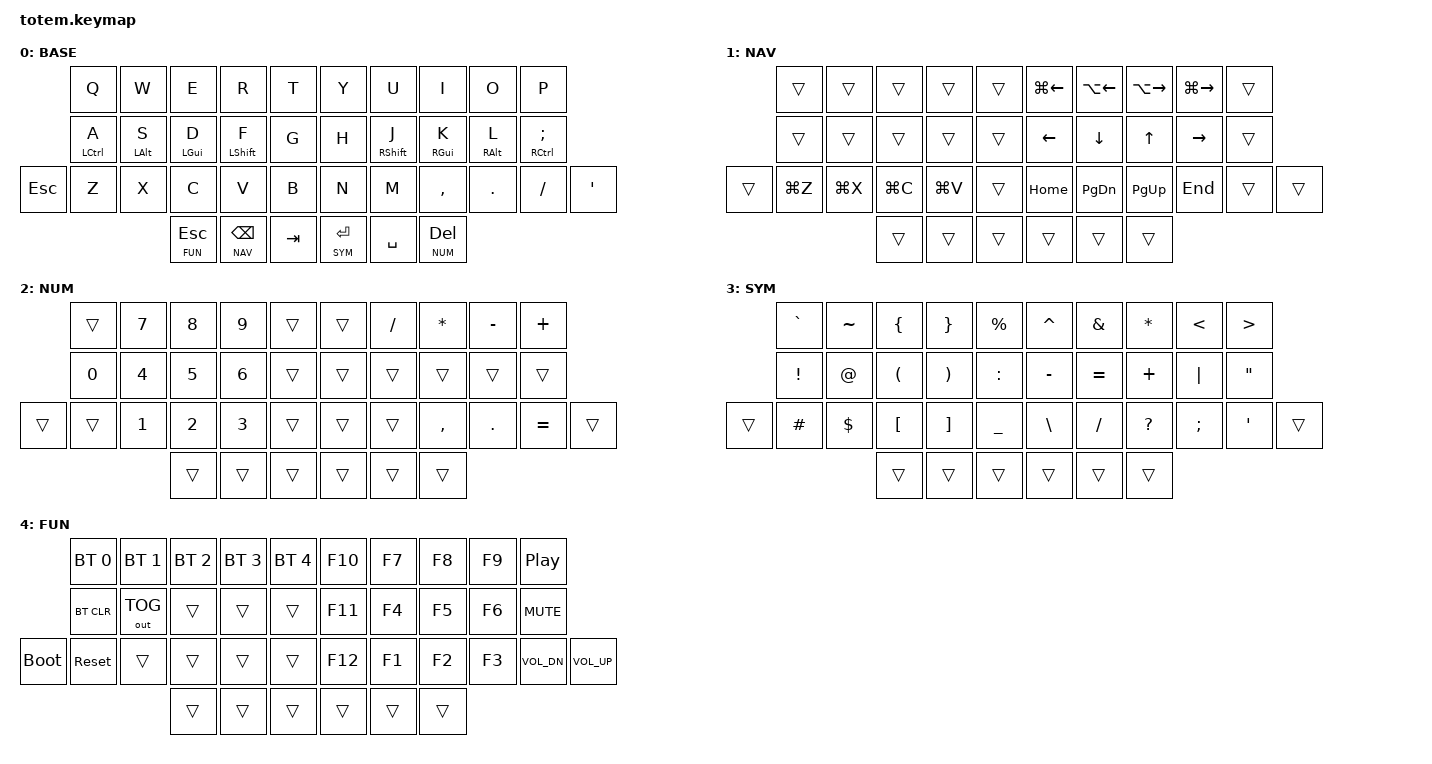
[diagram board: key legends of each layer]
#include <behaviors.dtsi>
#include <dt-bindings/zmk/keys.h>
#include <dt-bindings/zmk/bt.h>
#include <dt-bindings/zmk/outputs.h>

#define BASE 0
#define NAV  1
#define NUM  2
#define SYM  3
#define FUN  4

// Key positions (TOTEM, 38 keys)
//            0  1  2  3  4      5  6  7  8  9
//           10 11 12 13 14     15 16 17 18 19
//        20 21 22 23 24 25     26 27 28 29 30 31
//                 32 33 34     35 36 37
#define KEYS_L 0 1 2 3 4 10 11 12 13 14 20 21 22 23 24 25
#define KEYS_R 5 6 7 8 9 15 16 17 18 19 26 27 28 29 30 31
#define THUMBS 32 33 34 35 36 37

// Layer-taps: balanced so a held thumb + opposite-hand tap fires the layer
// immediately; quick-tap lets double-tap-hold auto-repeat BSPC/DEL.
&lt {
    flavor = "balanced";
    tapping-term-ms = <200>;
    quick-tap-ms = <175>;
};

/ {
  behaviors {
    // Home-row mods, bilateral: the hold only triggers when the next key is
    // on the opposite hand or a thumb, so same-hand rolls always produce taps.
    hml: home_row_mod_left {
        compatible = "zmk,behavior-hold-tap";
        #binding-cells = <2>;
        flavor = "balanced";
        tapping-term-ms = <260>;
        quick-tap-ms = <175>;
        require-prior-idle-ms = <150>;
        hold-trigger-key-positions = <KEYS_R THUMBS>;
        hold-trigger-on-release;
        bindings = <&kp>, <&kp>;
    };
    hmr: home_row_mod_right {
        compatible = "zmk,behavior-hold-tap";
        #binding-cells = <2>;
        flavor = "balanced";
        tapping-term-ms = <260>;
        quick-tap-ms = <175>;
        require-prior-idle-ms = <150>;
        hold-trigger-key-positions = <KEYS_L THUMBS>;
        hold-trigger-on-release;
        bindings = <&kp>, <&kp>;
    };
  };

  keymap {
    compatible = "zmk,keymap";

    // Mods (CAGS, macOS): pinky Ctrl, ring Alt, middle Cmd, index Shift.
    base_layer {
      display-name = "BASE";
      bindings = <
                   &kp Q        &kp W        &kp E        &kp R         &kp T          &kp Y   &kp U         &kp I        &kp O        &kp P
                   &hml LCTRL A &hml LALT S  &hml LGUI D  &hml LSHFT F  &kp G          &kp H   &hmr RSHFT J  &hmr RGUI K  &hmr RALT L  &hmr RCTRL SEMI
      &kp ESC      &kp Z        &kp X        &kp C        &kp V         &kp B          &kp N   &kp M         &kp COMMA    &kp DOT      &kp FSLH         &kp SQT
                                             &lt FUN ESC  &lt NAV BSPC  &kp TAB        &lt SYM RET  &kp SPACE  &lt NUM DEL
      >;
    };

    // Held by left thumb; arrows/text-nav on the right hand, clipboard on the
    // left bottom row. Left HRMs stay transparent so Shift/Cmd+arrows work.
    nav_layer {
      display-name = "NAV";
      bindings = <
                   &trans       &trans       &trans       &trans        &trans         &kp LG(LEFT)  &kp LA(LEFT)  &kp LA(RIGHT)  &kp LG(RIGHT)  &trans
                   &trans       &trans       &trans       &trans        &trans         &kp LEFT      &kp DOWN      &kp UP         &kp RIGHT      &trans
      &trans       &kp LG(Z)    &kp LG(X)    &kp LG(C)    &kp LG(V)     &trans         &kp HOME      &kp PG_DN     &kp PG_UP      &kp END        &trans      &trans
                                             &trans       &trans        &trans         &trans        &trans        &trans
      >;
    };

    // Held by right thumb; numpad on the left hand (ring/middle/index),
    // operators on the right top row. Right HRMs stay transparent.
    num_layer {
      display-name = "NUM";
      bindings = <
                   &trans       &kp N7       &kp N8       &kp N9        &trans         &trans   &kp FSLH   &kp ASTRK   &kp MINUS   &kp PLUS
                   &kp N0       &kp N4       &kp N5       &kp N6        &trans         &trans   &trans     &trans      &trans      &trans
      &trans       &trans       &kp N1       &kp N2       &kp N3        &trans         &trans   &trans     &kp COMMA   &kp DOT     &kp EQUAL   &trans
                                             &trans       &trans        &trans         &trans   &trans     &trans
      >;
    };

    // Held by right thumb; bracket pairs stacked on left middle+index,
    // operators on the right home row.
    sym_layer {
      display-name = "SYM";
      bindings = <
                   &kp GRAVE    &kp TILDE    &kp LBRC     &kp RBRC      &kp PRCNT      &kp CARET  &kp AMPS   &kp ASTRK  &kp LT     &kp GT
                   &kp EXCL     &kp AT       &kp LPAR     &kp RPAR      &kp COLON      &kp MINUS  &kp EQUAL  &kp PLUS   &kp PIPE   &kp DQT
      &trans       &kp HASH     &kp DLLR     &kp LBKT     &kp RBKT      &kp UNDER      &kp BSLH   &kp FSLH   &kp QMARK  &kp SEMI   &kp SQT     &trans
                                             &trans       &trans        &trans         &trans     &trans     &trans
      >;
    };

    // Held by left thumb; F-keys numpad-style on the right, BT/system on the
    // left, media on the right pinky column.
    fun_layer {
      display-name = "FUN";
      bindings = <
                   &bt BT_SEL 0 &bt BT_SEL 1 &bt BT_SEL 2 &bt BT_SEL 3  &bt BT_SEL 4   &kp F10    &kp F7     &kp F8     &kp F9     &kp C_PP
                   &bt BT_CLR   &out OUT_TOG &trans       &trans        &trans         &kp F11    &kp F4     &kp F5     &kp F6     &kp C_MUTE
      &bootloader  &sys_reset   &trans       &trans       &trans        &trans         &kp F12    &kp F1     &kp F2     &kp F3     &kp C_VOL_DN  &kp C_VOL_UP
                                             &trans       &trans        &trans         &trans     &trans     &trans
      >;
    };
  };
};
